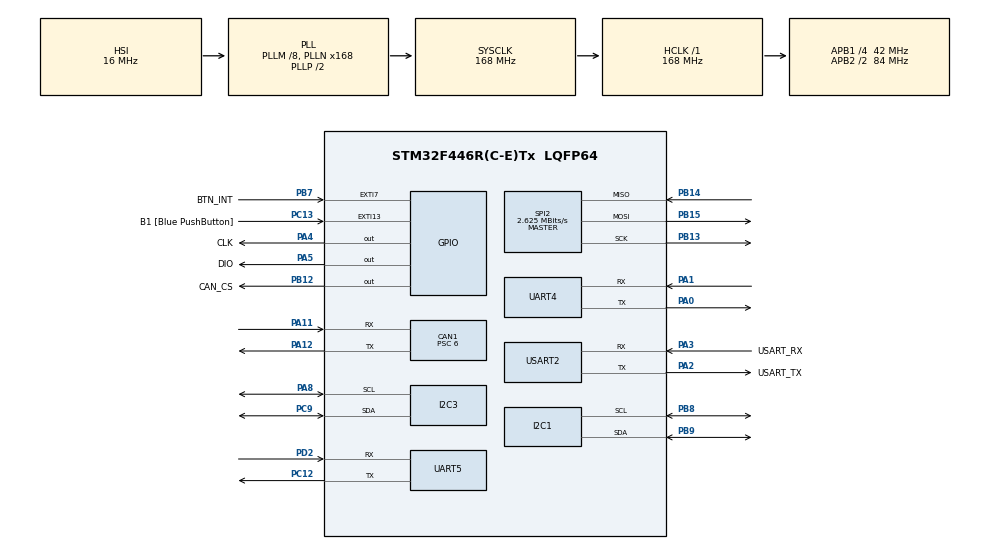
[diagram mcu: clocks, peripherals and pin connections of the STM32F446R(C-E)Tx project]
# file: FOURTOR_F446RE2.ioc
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CAN1.BS1=CAN_BS1_11TQ
CAN1.BS2=CAN_BS2_2TQ
CAN1.CalculateTimeQuantum=142.85714285714286
CAN1.Prescaler=6
Mcu.Family=STM32F4
Mcu.Name=STM32F446R(C-E)Tx
Mcu.Package=LQFP64
NVIC.EXTI9_5_IRQn=true\:1\:0\:true\:false\:true\:true\:true
NVIC.PriorityGroup=NVIC_PRIORITYGROUP_1
NVIC.SPI2_IRQn=true\:0\:0\:false\:false\:true\:true\:true
NVIC.UART4_IRQn=true\:0\:0\:false\:false\:true\:true\:true
NVIC.USART2_IRQn=true\:0\:0\:false\:false\:true\:true\:true
PA0-WKUP.Mode=Asynchronous
PA0-WKUP.Signal=UART4_TX
PA1.Mode=Asynchronous
PA1.Signal=UART4_RX
PA11.Mode=Master
PA11.Signal=CAN1_RX
PA12.Mode=Master
PA12.Signal=CAN1_TX
PA13.GPIO_Label=TMS
PA13.Mode=Serial_Wire
PA13.Signal=SYS_JTMS-SWDIO
PA14.GPIO_Label=TCK
PA14.Mode=Serial_Wire
PA14.Signal=SYS_JTCK-SWCLK
PA2.GPIO_Label=USART_TX
PA2.Mode=Asynchronous
PA2.Signal=USART2_TX
PA3.GPIO_Label=USART_RX
PA3.Mode=Asynchronous
PA3.Signal=USART2_RX
PA4.GPIO_Label=CLK
PA4.GPIO_Speed=GPIO_SPEED_FREQ_HIGH
PA4.Signal=GPIO_Output
PA5.GPIO_Label=DIO
PA5.GPIO_Speed=GPIO_SPEED_FREQ_HIGH
PA5.Signal=GPIO_Output
PA8.Mode=I2C
PA8.Signal=I2C3_SCL
PB12.GPIO_Label=CAN_CS
PB12.PinState=GPIO_PIN_RESET
PB12.Signal=GPIO_Output
PB13.Mode=Full_Duplex_Master
PB13.Signal=SPI2_SCK
PB14.Mode=Full_Duplex_Master
PB14.Signal=SPI2_MISO
PB15.Mode=Full_Duplex_Master
PB15.Signal=SPI2_MOSI
PB7.GPIO_Label=BTN_INT
PB7.GPIO_ModeDefaultEXTI=GPIO_MODE_IT_FALLING
PB7.GPIO_PuPd=GPIO_PULLDOWN
PB7.Signal=GPXTI7
PB8.Mode=I2C
PB8.Signal=I2C1_SCL
PB9.Mode=I2C
PB9.Signal=I2C1_SDA
PC12.Mode=Asynchronous
PC12.Signal=UART5_TX
PC13.GPIO_Label=B1 [Blue PushButton]
PC13.GPIO_ModeDefaultEXTI=GPIO_MODE_IT_FALLING
PC13.Signal=GPXTI13
PC14-OSC32_IN.Mode=LSE-External-Oscillator
PC14-OSC32_IN.Signal=RCC_OSC32_IN
PC15-OSC32_OUT.Mode=LSE-External-Oscillator
PC15-OSC32_OUT.Signal=RCC_OSC32_OUT
PC9.Mode=I2C
PC9.Signal=I2C3_SDA
PD2.Mode=Asynchronous
PD2.Signal=UART5_RX
PH0-OSC_IN.Mode=HSE-External-Oscillator
PH0-OSC_IN.Signal=RCC_OSC_IN
PH1-OSC_OUT.Mode=HSE-External-Oscillator
PH1-OSC_OUT.Signal=RCC_OSC_OUT
ProjectManager.HeapSize=0x200
ProjectManager.StackSize=0x400
ProjectManager.TargetToolchain=STM32CubeIDE
RCC.48MHZClocksFreq_Value=84000000
RCC.AHBFreq_Value=168000000
RCC.APB1CLKDivider=RCC_HCLK_DIV4
RCC.APB1Freq_Value=42000000
RCC.APB1TimFreq_Value=84000000
RCC.APB2CLKDivider=RCC_HCLK_DIV2
RCC.APB2Freq_Value=84000000
RCC.APB2TimFreq_Value=168000000
RCC.CortexFreq_Value=168000000
RCC.FLatency-AdvancedSettings=FLASH_LATENCY_5
RCC.HCLKFreq_Value=168000000
RCC.HSE_VALUE=8000000
RCC.HSI_VALUE=16000000
RCC.PLLM=8
RCC.PLLN=168
RCC.SYSCLKFreq_VALUE=168000000
RCC.SYSCLKSource=RCC_SYSCLKSOURCE_PLLCLK
RCC.USBFreq_Value=168000000
RCC.VCOOutputFreq_Value=336000000
SPI2.BaudRatePrescaler=SPI_BAUDRATEPRESCALER_16
SPI2.CalculateBaudRate=2.625 MBits/s
SPI2.Direction=SPI_DIRECTION_2LINES
SPI2.Mode=SPI_MODE_MASTER
SPI2.VirtualType=VM_MASTER
UART4.VirtualMode=Asynchronous
UART5.VirtualMode=Asynchronous
USART2.VirtualMode=VM_ASYNC
board=NUCLEO-F446RE

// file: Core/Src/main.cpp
/* USER CODE BEGIN Header */
/**
  ******************************************************************************
  * @file           : main.c
  * @brief          : Main program body
  ******************************************************************************
  * @attention
  *
  * <h2><center>&copy; Copyright (c) 2021 STMicroelectronics.
  * All rights reserved.</center></h2>
  *
  * This software component is licensed by ST under BSD 3-Clause license,
  * the "License"; You may not use this file except in compliance with the
  * License. You may obtain a copy of the License at:
  *                        opensource.org/licenses/BSD-3-Clause
  *
  ******************************************************************************
  */
/* USER CODE END Header */
#include "main.h"
#include "can.h"
#include "i2c.h"
#include "spi.h"
#include "usart.h"
#include "gpio.h"
#include "stdio.h"
#include "stm32f4xx_hal.h"
#include "stdio.h"
#include "bno055.h"
#include "bno055_stm32.h"
#include "string.h"
#include "CANSPI.h"
#include "MCP2515.h"
#include <stdlib.h>
#include "i2c-lcd.h"
#include "stm32_tm1637.h"
#define SLAVE_ADDRESS_LCD 0x27
/* USER CODE BEGIN Includes */
UART_HandleTypeDef huart4;
UART_HandleTypeDef huart2;
I2C_HandleTypeDef hi2c3;
//MCP_CAN can_bus(12);
//CANopen motor;
uint16_t rpm;
uint8_t len = 0;
uint32_t canId = 0;
uint32_t timestamp = 0;
uint8_t buf[20];
uint8_t i=0;
int row=0;
int col=0;
uCAN_MSG txMessage;
uCAN_MSG rxMessage;
char s[10];
rx_reg_t rxReg;
int a=0;
int b=0;
//int c=0;
//int a;
//float b;

/* USER CODE END Includes */

void SystemClock_Config(void);
uint8_t init_bool = 0;

int main(void)
{
//	uint8_t a[30];
//	int size;
//	int* arr = (int*)malloc(sizeof(int) * size);
	uint8_t buffer[100];
	int str=1000;
  /* MCU Configuration--------------------------------------------------------*/

  /* Reset of all peripherals, Initializes the Flash interface and the Systick. */
  HAL_Init();

  /* Configure the system clock */
  SystemClock_Config();

  /* Initialize all configured peripherals */
  MX_GPIO_Init();
  MX_USART2_UART_Init();
  MX_I2C1_Init();//BNO055
  MX_CAN1_Init();
  MX_SPI2_Init();//Motor data logging
  MX_UART4_Init();//BMS data logging
  MX_UART5_Init();//7-Segment
  MX_I2C3_Init();//LCD print
  /* USER CODE BEGIN 2 */

  CANSPI_Initialize();
  /* USER CODE END 2 */

  /* Infinite loop */
  lcd_init();
  HAL_Delay(20);
  lcd_clear();
//  HAL_Delay(20);
//  lcd_put_cur(0,0);
//  HAL_Delay(20);
//  lcd_send_string((char*)"M.Tq:");
//  HAL_Delay(20);
//  lcd_put_cur(1,0);
//  HAL_Delay(20);
//  lcd_send_string((char*)"M.Tq:");

//  for(int i=0;i<100;i++){
//	  HAL_Delay(100);
//	  lcd_put_cur(1,5);
//	  sprintf((char*)buffer,"%d",i);
//	  lcd_send_string((char*)buffer);
//  }
//  bno055_assignI2C(&hi2c2); //i2c_1이 안되서 2로 바꾸었더니 잘되었다 라이브러리 선언 I2C_HandleTypeDef hi2c2
//  bno055_setup();
//  bno055_setOperationMode(BNO055_OPERATION_MODE_ACCGYRO);//작동 모드
//  bno055_setPowerMode(BNO55_POWER_MODE_LOWPOWER);//파워 모드
//  lcd_init();
//  HAL_Delay(30);
//  lcd_clear();
//  HAL_Delay(30);
//  lcd_send_string("B.Temp:");
//tm1637Init();
//tm1637SetBrightness(5);
//for(int i=0;i<1000;i++){
//tm1637DisplayDecimal(str-i, 1);
//}
  while (1)
  {

//	  bno055_vector_t gyro = bno055_getVectorGyroscope();// gyro라는 벡터에 각각 x,y,z값의 자이로값
//	  bno055_vector_t acc = bno055_getVectorAccelerometer();//acc라는 벡터에 각각 x,y,z값의 가속도
//	  printf("X_gyro: %.2f Y_gyro: %.2f Z_gyro: %.2f\r\n",gyro.x,gyro.y,gyro.z);
//	  printf("X_acc: %.2f Y_acc: %.2f Z_acc: %.2f\r\n",acc.x,acc.y,acc.z);
//	  HAL_Delay(1000);
  /* USER CODE BEGIN WHILE */
//	  txMessage.frame.id=0x80;//0x81
//	  txMessage.frame.idType=0x00;
//	  txMessage.frame.dlc=8;
//	  txMessage.frame.data0=0x00;
//	  txMessage.frame.data1=0x00;
//	  txMessage.frame.data2=0x00;
//	  txMessage.frame.data3=0x00;
//	  txMessage.frame.data4=0x00;
//	  txMessage.frame.data5=0x00;
//	  txMessage.frame.data6=0x00;
//	  txMessage.frame.data7=0x00;
//	  CANSPI_Transmit(&txMessage);
//	  HAL_Delay(50);
	  Data_Print(b);
//	  if(CANSPI_Receive(&rxMessage))
//	  {
//		  uint16_t torque_buff= ((uint16_t)rxMessage.frame.data5 << 8) | rxMessage.frame.data4;
//		  uint16_t temp_buff= ((uint16_t)rxMessage.frame.data1 << 8) | rxMessage.frame.data0;
//		  uint16_t vol_buff= ((uint16_t)rxMessage.frame.data3 << 8) | rxMessage.frame.data2;
//		  uint16_t current_buff= ((uint16_t)rxMessage.frame.data7 << 8) | rxMessage.frame.data6;
//		  printf("Temp:%d ",temp_buff);
//		  printf("Current:%d ",current_buff);
//		  printf("Voltage:%.2f ",(vol_buff)*0.0625);
//		  printf("Torque:%.2f \r\n",(torque_buff)*0.1);
//	  	  HAL_Delay(50);
//	  }
    /* USER CODE END WHILE */
//	  unsigned char data[16];
//	  HAL_UART_Receive_IT(&huart4,a,30);
//	  HAL_UART_Transmit(&huart2, &a[3], 3, 100);
	  HAL_Delay(10);
//
//	  LCD_Print(a);
//	  HAL_Delay(100);

	  //case 1:
//	  if(c==0){
//		  lcd_init();
//	  lcd_put_cur(0,0);
//	    lcd_send_string("M.Tq:");
//	    HAL_Delay(100);
//	    lcd_put_cur(1,0);
//	    lcd_send_string("M.Temp:");
//	  //  lcd_put_cur(0,7);
//	  //  lcd_send_string((int*)torque_buff);
//	  //  lcd_put_cur(1,7);
//	  //  lcd_send_string((int*)temp_buff);
//	  }
////
////	  //case 2:
//	  else if(c==1){
//		  lcd_init();
//		lcd_put_cur(0,0);
//	    lcd_send_string("B.Volt:");
//	    HAL_Delay(50);
//	    lcd_put_cur(1,0);
//	    lcd_send_string("B.Temp:");
//	    lcd_put_cur(0,7);
//	    lcd_send_string((char*)torque_buff);
//	    lcd_put_cur(1,7);
//	    lcd_send_string((char*)temp_buff);
	  }
  }

//    /* USER CODE BEGIN 3 */

  /* USER CODE END 3 */

//void HAL_GPIO_EXTI_Callback(uint16_t GPIO_Pin){
//	if(GPIO_Pin==GPIO_PIN_7){
//		HAL_Delay(10);
//		        if(HAL_GPIO_ReadPin(GPIOB,GPIO_PIN_7)==0)
//		        {
//		                printf("this is exti\r\n");
//		        }
//		printf("please\r\n");
//		a+=1;
//		a%=2;
//		printf("%d\r\n",a);
//	}
//	LCD_Print(a);
//}
void HAL_GPIO_EXTI_Callback(uint16_t GPIO_Pin)
{
    if(GPIO_Pin == GPIO_PIN_7)
    {
    	HAL_Delay(20);
//         printf("please\r\n");
        if(HAL_GPIO_ReadPin(GPIOB,GPIO_PIN_7)==0)
        {
        	lcd_clear();
        	HAL_Delay(20);
		 	printf("%d\r\n",a);
			HAL_Delay(20);
			a+=1;
			b+=1;
			HAL_Delay(20);
			a%=2;
			b%=2;
			LCD_Print(a);
        }
    }
}
void SystemClock_Config(void)
{
  RCC_OscInitTypeDef RCC_OscInitStruct = {0};
  RCC_ClkInitTypeDef RCC_ClkInitStruct = {0};

  /** Configure the main internal regulator output voltage
  */
  __HAL_RCC_PWR_CLK_ENABLE();
  __HAL_PWR_VOLTAGESCALING_CONFIG(PWR_REGULATOR_VOLTAGE_SCALE1);
  /** Initializes the RCC Oscillators according to the specified parameters
  * in the RCC_OscInitTypeDef structure.
  */
  RCC_OscInitStruct.OscillatorType = RCC_OSCILLATORTYPE_HSI;
  RCC_OscInitStruct.HSIState = RCC_HSI_ON;
  RCC_OscInitStruct.HSICalibrationValue = RCC_HSICALIBRATION_DEFAULT;
  RCC_OscInitStruct.PLL.PLLState = RCC_PLL_ON;
  RCC_OscInitStruct.PLL.PLLSource = RCC_PLLSOURCE_HSI;
  RCC_OscInitStruct.PLL.PLLM = 8;
  RCC_OscInitStruct.PLL.PLLN = 168;
  RCC_OscInitStruct.PLL.PLLP = RCC_PLLP_DIV2;
  RCC_OscInitStruct.PLL.PLLQ = 2;
  RCC_OscInitStruct.PLL.PLLR = 2;
  if (HAL_RCC_OscConfig(&RCC_OscInitStruct) != HAL_OK)
  {
    Error_Handler();
  }
  /** Initializes the CPU, AHB and APB buses clocks
  */
  RCC_ClkInitStruct.ClockType = RCC_CLOCKTYPE_HCLK|RCC_CLOCKTYPE_SYSCLK
                              |RCC_CLOCKTYPE_PCLK1|RCC_CLOCKTYPE_PCLK2;
  RCC_ClkInitStruct.SYSCLKSource = RCC_SYSCLKSOURCE_PLLCLK;
  RCC_ClkInitStruct.AHBCLKDivider = RCC_SYSCLK_DIV1;
  RCC_ClkInitStruct.APB1CLKDivider = RCC_HCLK_DIV4;
  RCC_ClkInitStruct.APB2CLKDivider = RCC_HCLK_DIV2;

  if (HAL_RCC_ClockConfig(&RCC_ClkInitStruct, FLASH_LATENCY_5) != HAL_OK)
  {
    Error_Handler();
  }
}

void Error_Handler(void)
{
}

/************************ (C) COPYRIGHT STMicroelectronics *****END OF FILE****/
